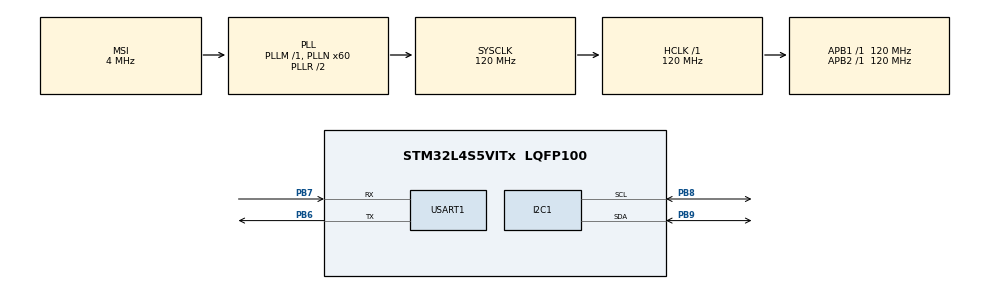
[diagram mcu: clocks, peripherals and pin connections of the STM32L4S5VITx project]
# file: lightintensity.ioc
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I2C1.Timing=0x30A175AB
Mcu.Family=STM32L4
Mcu.Name=STM32L4S5VITx
Mcu.Package=LQFP100
NVIC.PriorityGroup=NVIC_PRIORITYGROUP_4
PB6.Mode=Asynchronous
PB6.Signal=USART1_TX
PB7.Mode=Asynchronous
PB7.Signal=USART1_RX
PB8.Mode=I2C
PB8.Signal=I2C1_SCL
PB9.Mode=I2C
PB9.Signal=I2C1_SDA
ProjectManager.HeapSize=0x200
ProjectManager.StackSize=0x400
ProjectManager.TargetToolchain=STM32CubeIDE
RCC.ADCFreq_Value=48000000
RCC.AHBFreq_Value=120000000
RCC.APB1Freq_Value=120000000
RCC.APB1TimFreq_Value=120000000
RCC.APB2Freq_Value=120000000
RCC.APB2TimFreq_Value=120000000
RCC.CortexFreq_Value=120000000
RCC.HCLKFreq_Value=120000000
RCC.HSE_VALUE=8000000
RCC.HSI48_VALUE=48000000
RCC.HSI_VALUE=16000000
RCC.LSE_VALUE=32768
RCC.MSI_VALUE=4000000
RCC.PLLN=60
RCC.PLLSAI1N=24
RCC.SYSCLKFreq_VALUE=120000000
RCC.SYSCLKSource=RCC_SYSCLKSOURCE_PLLCLK
RCC.USBFreq_Value=48000000
RCC.VCOOutputFreq_Value=240000000
USART1.VirtualMode-Asynchronous=VM_ASYNC
board=B-L4S5I-IOT01A

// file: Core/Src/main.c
/* USER CODE BEGIN Header */
/**
  ******************************************************************************
  * @file           : main.c
  * @brief          : Main program body
  ******************************************************************************
  * @attention
  *
  * Copyright (c) 2023 STMicroelectronics.
  * All rights reserved.
  *
  * This software is licensed under terms that can be found in the LICENSE file
  * in the root directory of this software component.
  * If no LICENSE file comes with this software, it is provided AS-IS.
  *
  ******************************************************************************
  */
/* USER CODE END Header */
#include "main.h"

/* USER CODE BEGIN Includes */
#include "bh1750.h"
#include "stdio.h"
#include "string.h"
/* USER CODE END Includes */

/* USER CODE BEGIN PM */
#define DATA_INPUT_USER 1
#define AXIS_NUMBER 1
/* USER CODE END PM */

I2C_HandleTypeDef hi2c1;

UART_HandleTypeDef huart1;

/* USER CODE BEGIN PV */
float light;
float light_buffer[DATA_INPUT_USER * AXIS_NUMBER] = {0};
/* USER CODE END PV */

void SystemClock_Config(void);
static void MX_GPIO_Init(void);
static void MX_I2C1_Init(void);
static void MX_USART1_UART_Init(void);
/* USER CODE BEGIN PFP */
void fill_light_buffer();
void Log();
/* USER CODE END PFP */

int main(void)
{

  /* MCU Configuration--------------------------------------------------------*/

  /* Reset of all peripherals, Initializes the Flash interface and the Systick. */
  HAL_Init();

  /* Configure the system clock */
  SystemClock_Config();

  /* Initialize all configured peripherals */
  MX_GPIO_Init();
  MX_I2C1_Init();
  MX_USART1_UART_Init();
  /* USER CODE BEGIN 2 */

  BH1750_Init(&hi2c1);

  /* USER CODE END 2 */

  /* Infinite loop */
  /* USER CODE BEGIN WHILE */
  while (1)
  {
	  Log();

    /* USER CODE END WHILE */

  }
}

void SystemClock_Config(void)
{
  RCC_OscInitTypeDef RCC_OscInitStruct = {0};
  RCC_ClkInitTypeDef RCC_ClkInitStruct = {0};

  /** Configure the main internal regulator output voltage
  */
  if (HAL_PWREx_ControlVoltageScaling(PWR_REGULATOR_VOLTAGE_SCALE1_BOOST) != HAL_OK)
  {
    Error_Handler();
  }

  /** Initializes the RCC Oscillators according to the specified parameters
  * in the RCC_OscInitTypeDef structure.
  */
  RCC_OscInitStruct.OscillatorType = RCC_OSCILLATORTYPE_MSI;
  RCC_OscInitStruct.MSIState = RCC_MSI_ON;
  RCC_OscInitStruct.MSICalibrationValue = 0;
  RCC_OscInitStruct.MSIClockRange = RCC_MSIRANGE_6;
  RCC_OscInitStruct.PLL.PLLState = RCC_PLL_ON;
  RCC_OscInitStruct.PLL.PLLSource = RCC_PLLSOURCE_MSI;
  RCC_OscInitStruct.PLL.PLLM = 1;
  RCC_OscInitStruct.PLL.PLLN = 60;
  RCC_OscInitStruct.PLL.PLLP = RCC_PLLP_DIV2;
  RCC_OscInitStruct.PLL.PLLQ = RCC_PLLQ_DIV2;
  RCC_OscInitStruct.PLL.PLLR = RCC_PLLR_DIV2;
  if (HAL_RCC_OscConfig(&RCC_OscInitStruct) != HAL_OK)
  {
    Error_Handler();
  }

  /** Initializes the CPU, AHB and APB buses clocks
  */
  RCC_ClkInitStruct.ClockType = RCC_CLOCKTYPE_HCLK|RCC_CLOCKTYPE_SYSCLK
                              |RCC_CLOCKTYPE_PCLK1|RCC_CLOCKTYPE_PCLK2;
  RCC_ClkInitStruct.SYSCLKSource = RCC_SYSCLKSOURCE_PLLCLK;
  RCC_ClkInitStruct.AHBCLKDivider = RCC_SYSCLK_DIV1;
  RCC_ClkInitStruct.APB1CLKDivider = RCC_HCLK_DIV1;
  RCC_ClkInitStruct.APB2CLKDivider = RCC_HCLK_DIV1;

  if (HAL_RCC_ClockConfig(&RCC_ClkInitStruct, FLASH_LATENCY_5) != HAL_OK)
  {
    Error_Handler();
  }
}

static void MX_I2C1_Init(void)
{

  hi2c1.Instance = I2C1;
  hi2c1.Init.Timing = 0x30A175AB;
  hi2c1.Init.OwnAddress1 = 0;
  hi2c1.Init.AddressingMode = I2C_ADDRESSINGMODE_7BIT;
  hi2c1.Init.DualAddressMode = I2C_DUALADDRESS_DISABLE;
  hi2c1.Init.OwnAddress2 = 0;
  hi2c1.Init.OwnAddress2Masks = I2C_OA2_NOMASK;
  hi2c1.Init.GeneralCallMode = I2C_GENERALCALL_DISABLE;
  hi2c1.Init.NoStretchMode = I2C_NOSTRETCH_DISABLE;
  if (HAL_I2C_Init(&hi2c1) != HAL_OK)
  {
    Error_Handler();
  }

  /** Configure Analogue filter
  */
  if (HAL_I2CEx_ConfigAnalogFilter(&hi2c1, I2C_ANALOGFILTER_ENABLE) != HAL_OK)
  {
    Error_Handler();
  }

  /** Configure Digital filter
  */
  if (HAL_I2CEx_ConfigDigitalFilter(&hi2c1, 0) != HAL_OK)
  {
    Error_Handler();
  }

}

static void MX_USART1_UART_Init(void)
{

  huart1.Instance = USART1;
  huart1.Init.BaudRate = 115200;
  huart1.Init.WordLength = UART_WORDLENGTH_8B;
  huart1.Init.StopBits = UART_STOPBITS_1;
  huart1.Init.Parity = UART_PARITY_NONE;
  huart1.Init.Mode = UART_MODE_TX_RX;
  huart1.Init.HwFlowCtl = UART_HWCONTROL_NONE;
  huart1.Init.OverSampling = UART_OVERSAMPLING_16;
  huart1.Init.OneBitSampling = UART_ONE_BIT_SAMPLE_DISABLE;
  huart1.Init.ClockPrescaler = UART_PRESCALER_DIV1;
  huart1.AdvancedInit.AdvFeatureInit = UART_ADVFEATURE_NO_INIT;
  if (HAL_UART_Init(&huart1) != HAL_OK)
  {
    Error_Handler();
  }
  if (HAL_UARTEx_SetTxFifoThreshold(&huart1, UART_TXFIFO_THRESHOLD_1_8) != HAL_OK)
  {
    Error_Handler();
  }
  if (HAL_UARTEx_SetRxFifoThreshold(&huart1, UART_RXFIFO_THRESHOLD_1_8) != HAL_OK)
  {
    Error_Handler();
  }
  if (HAL_UARTEx_DisableFifoMode(&huart1) != HAL_OK)
  {
    Error_Handler();
  }

}

static void MX_GPIO_Init(void)
{

  /* GPIO Ports Clock Enable */
  __HAL_RCC_GPIOB_CLK_ENABLE();

}

/* USER CODE BEGIN 4 */
void fill_light_buffer() {
	for(int i = 0; i < DATA_INPUT_USER; i++){
		light = BH1750_ReadLux(&hi2c1);
		light_buffer[AXIS_NUMBER * i] = light;
		HAL_Delay(3);
	}
}

void Log() {
	fill_light_buffer();
	for(int i = 0; i < DATA_INPUT_USER; i++) {
		printf("%.2f", light_buffer[AXIS_NUMBER * i]);
		printf(" ");
	}
	printf("\r\n");
}

int __io_putchar(int ch){
	HAL_UART_Transmit(&huart1, (uint8_t *) &ch, 1, HAL_MAX_DELAY);
	return ch;
}
/* USER CODE END 4 */

void Error_Handler(void)
{
  __disable_irq();
  while (1)
  {
  }
}
